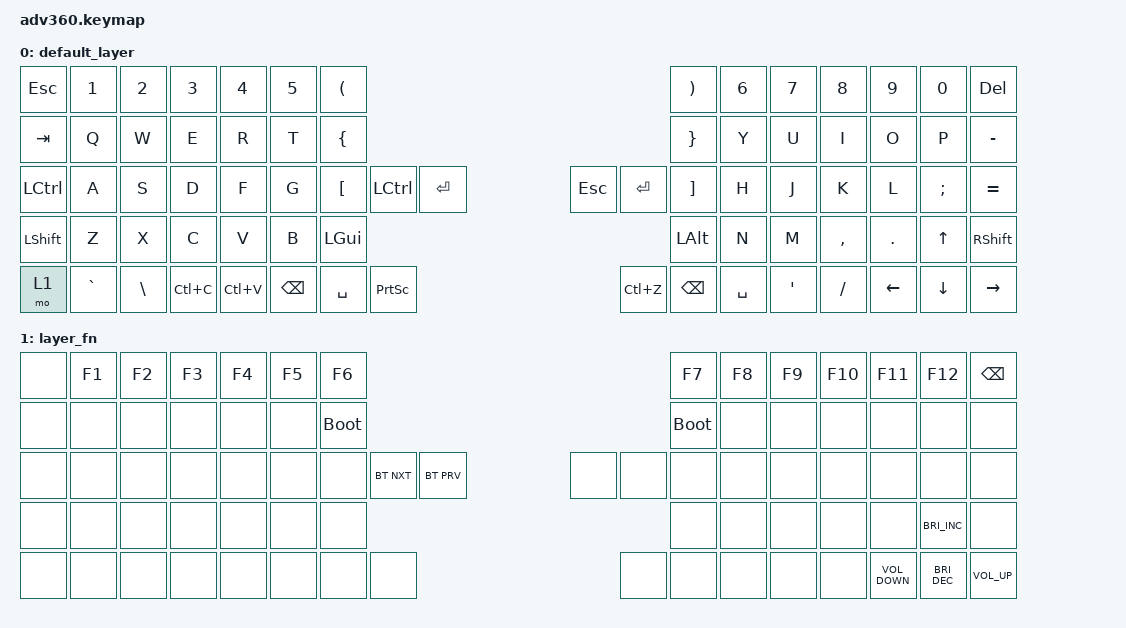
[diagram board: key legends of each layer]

/*
 * Copyright (c) 2020 The ZMK Contributors
 *
 * SPDX-License-Identifier: MIT
 */


/* THIS FILE WAS GENERATED!
 *
 * This file was generated automatically. You may or may not want to
 * edit it directly.
 */

#include <behaviors.dtsi>
#include <dt-bindings/zmk/keys.h>
#include <dt-bindings/zmk/bt.h>

/ {
  behaviors {
    #include "macros.dtsi"
    #include "version.dtsi"

    hm: homerow_mods {
        compatible = "zmk,behavior-hold-tap";
        label = "HOMEROW_MODS";
        #binding-cells = <2>;
        tapping-term-ms = <200>;
        quick_tap_ms = <175>;
        flavor = "tap-preferred";
        bindings = <&kp>, <&kp>;
    };
  };

    keymap {
        compatible = "zmk,keymap";


        default_layer {
            bindings = <
       &kp ESCAPE     &kp N1    &kp N2     &kp N3     &kp N4  &kp N5            &kp LEFT_PARENTHESIS                                                                                  &kp RIGHT_PARENTHESIS  &kp N6          &kp N7     &kp N8      &kp N9    &kp N0       &kp DELETE
          &kp TAB      &kp Q     &kp W      &kp E      &kp R   &kp T                  &kp LEFT_BRACE                                                                                        &kp RIGHT_BRACE   &kp Y           &kp U      &kp I       &kp O     &kp P        &kp MINUS
 &kp LEFT_CONTROL      &kp A     &kp S      &kp D      &kp F   &kp G                &kp LEFT_BRACKET  &kp LEFT_CONTROL       &kp RETURN                    &kp ESCAPE     &kp RETURN      &kp RIGHT_BRACKET   &kp H           &kp J      &kp K       &kp L  &kp SEMI        &kp EQUAL
   &kp LEFT_SHIFT      &kp Z     &kp X      &kp C      &kp V   &kp B                                                       &kp LEFT_GUI                  &kp LEFT_ALT                                         &kp N           &kp M  &kp COMMA  &kp PERIOD    &kp UP  &kp RIGHT_SHIFT
            &mo 1  &kp GRAVE  &kp BSLH  &kp LC(C)  &kp LC(V)                           &kp BACKSPACE         &kp SPACE  &kp PRINTSCREEN                     &kp LC(Z)  &kp BACKSPACE              &kp SPACE          &kp APOSTROPHE  &kp SLASH    &kp LEFT  &kp DOWN        &kp RIGHT
            >;
        };

        layer_fn {
            bindings = <
  &none  &kp F1  &kp F2  &kp F3  &kp F4  &kp F5                 &kp F6                                                               &kp F7  &kp F8  &kp F9  &kp F10            &kp F11               &kp F12    &kp BACKSPACE
  &none   &none   &none   &none   &none   &none            &bootloader                                                          &bootloader   &none   &none    &none              &none                 &none            &none
  &none   &none   &none   &none   &none   &none                  &none  &bt BT_NXT  &bt BT_PRV                   &none   &none        &none   &none   &none    &none              &none                 &none            &none
  &none   &none   &none   &none   &none   &none                                          &none                   &none                        &none   &none    &none              &none  &kp C_BRIGHTNESS_INC            &none
  &none   &none   &none   &none   &none                          &none       &none       &none                   &none   &none        &none           &none    &none  &kp C_VOLUME_DOWN  &kp C_BRIGHTNESS_DEC  &kp C_VOLUME_UP
            >;
        };

    };
};
